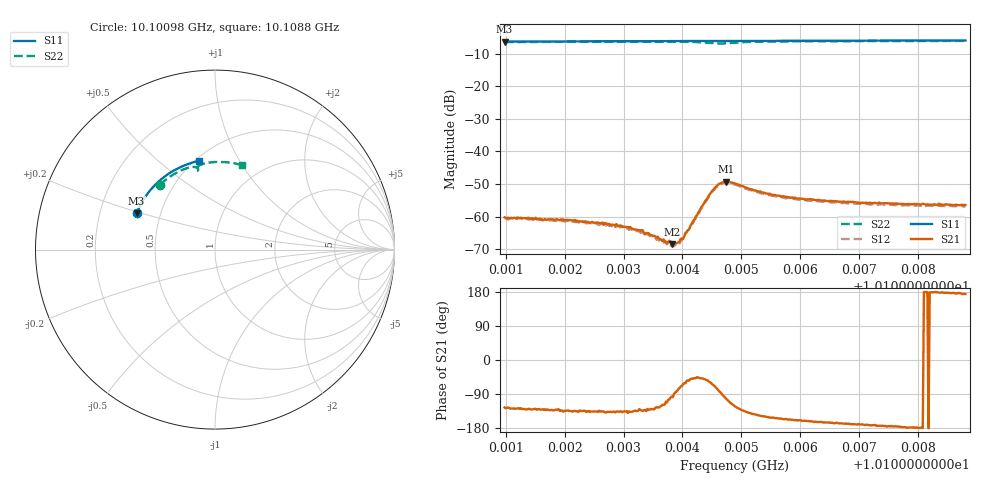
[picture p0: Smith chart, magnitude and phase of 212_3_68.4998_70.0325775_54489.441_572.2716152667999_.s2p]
#  HZ  S  RI  R  50.00
! Rohde & Schwarz Vector Network Analyzer
! Rohde-Schwarz,ZNB20-2Port,1311601062101988,3.16
! Created: UTC 3/20/2024, 4:58:05 PM
! freq[Hz]  re:S11  im:S11  re:S21  im:S21  re:S12  im:S12  re:S22  im:S22
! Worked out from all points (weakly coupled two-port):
!   401 points, 10.10098 GHz to 10.1088 GHz, reference 50 ohm
!   highest |S21| = -49.25 dB at 10.10473 GHz (marker M1); lowest = -68.4 dB at 10.10382 GHz (marker M2)
!   lowest |S11| = -6.3 dB at 10.10098 GHz (marker M3), VSWR 2.86, Z = 18.2 + j9.61 ohm
!   |S11| at or under -10 dB: nowhere
!   |S22| runs from -6.9 to -6.1 dB; largest |S21 - S12| = 0.00035
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1.0100982e10  -0.4371 0.2025  -0.000562 -0.000797  -0.000514 -0.000802  -0.3063 0.3622
1.0102292e10  -0.4016 0.2738  -0.000585 -0.000598  -0.000521 -0.00062  -0.2389 0.4141
1.0102956e10  -0.379 0.3073  -0.000519 -0.000513  -0.00049 -0.000499  -0.2008 0.4359
1.0103288e10  -0.3668 0.3233  -0.000404 -0.000449  -0.000359 -0.000436  -0.1803 0.4452
1.0103503e10  -0.3586 0.3334  -0.000323 -0.000391  -0.000256 -0.0004  -0.1664 0.4509
1.0103601e10  -0.3548 0.3381  -0.000265 -0.000376  -0.000177 -0.00039  -0.1599 0.4531
1.0103699e10  -0.3508 0.3425  -0.00019 -0.000367  -0.000139 -0.000401  -0.1532 0.4552
1.0103816e10  -0.3459 0.3477  -4.47e-05 -0.000378  -3.99e-05 -0.000376  -0.1449 0.4575
1.0103855e10  -0.3444 0.3495  1.13e-06 -0.000399  7.13e-06 -0.000353  -0.1421 0.4582
1.0103914e10  -0.342 0.3521  6.41e-05 -0.000391  9.39e-05 -0.000394  -0.1377 0.4591
1.0103992e10  -0.3388 0.3554  0.000166 -0.000419  0.000222 -0.000373  -0.1318 0.46
1.0104129e10  -0.3329 0.3614  0.000437 -0.000542  0.000493 -0.000479  -0.1208 0.4609
1.0104481e10  -0.3174 0.3761  0.00116 -0.00201  0.00128 -0.00184  -0.0944 0.4491
1.0104598e10  -0.3122 0.3809  0.000646 -0.00298  0.000865 -0.00282  -0.0949 0.441
1.0104735e10  -0.306 0.3863  -0.000659 -0.00338  -0.000364 -0.0033  -0.1021 0.4416
1.0104891e10  -0.2989 0.3924  -0.00172 -0.00272  -0.00143 -0.00275  -0.1027 0.4531
1.0105165e10  -0.286 0.4029  -0.00203 -0.00164  -0.00182 -0.00176  -0.0869 0.469
1.0105556e10  -0.267 0.417  -0.00192 -0.000985  -0.00176 -0.00109  -0.0595 0.4799
1.0106201e10  -0.2341 0.4381  -0.00172 -0.000563  -0.00161 -0.000675  -0.0155 0.487
1.0107002e10  -0.191 0.4604  -0.0016 -0.000281  -0.00153 -0.000411  0.0373 0.4885
1.0107511e10  -0.1628 0.4721  -0.00159 -0.000156  -0.0015 -0.000276  0.07 0.4862
1.0108801e10  -0.0879 0.4941  -0.0015 0.000154  -0.00142 -2.06e-05  0.151 0.4703
